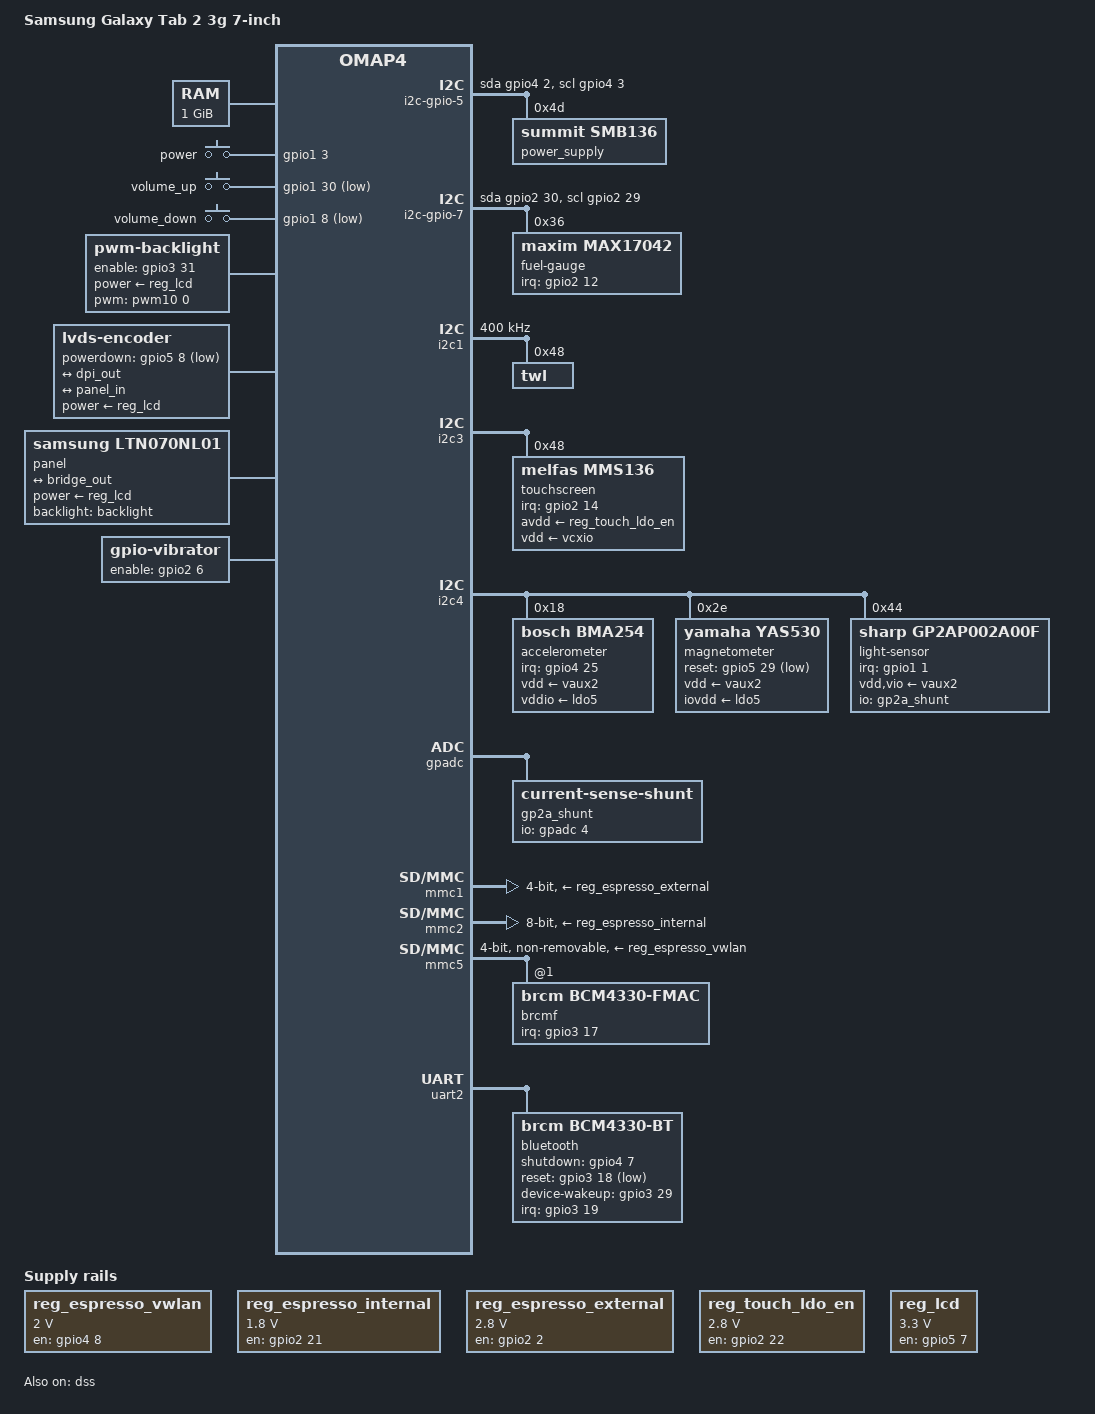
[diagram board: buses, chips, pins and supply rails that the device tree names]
// SPDX-License-Identifier: (GPL-2.0 OR MIT)
/dts-v1/;
#include "dt-bindings/gpio/gpio.h"
#include <dt-bindings/interrupt-controller/irq.h>
#include <dt-bindings/input/input.h>
#include "omap443x.dtsi"

/ {
	model = "Samsung Galaxy Tab 2 3g 7-inch";
	compatible = "samsung,espresso3g", "ti,omap4430", "ti,omap4";

	memory@80000000 {
		device_type = "memory";
		reg = <0x80000000 0x40000000>; /* 1 GB */
	};

	reserved-memory {
		#address-cells = <1>;
		#size-cells = <1>;
		ranges;

		ramoops_region@A0000000 {
			no-map;

			reg = <0xA0000000 0x200000>;

		};

		continuous_splash: framebuffer@bef00000{
			//The framebuffer address is specific to your device
			reg = <0xbef00000 (1024 * 600 * 4)>;
			no-map;
		};
	};

	chosen {
		#address-cells = <1>;
		#size-cells = <1>;
		ranges;
	};

	i2c-gpio-5 {
		compatible = "i2c-gpio";
		sda-gpios = <&gpio4 2 (GPIO_ACTIVE_HIGH | GPIO_OPEN_DRAIN)>;
		scl-gpios = <&gpio4 3 (GPIO_ACTIVE_HIGH | GPIO_OPEN_DRAIN)>;
		i2c-gpio,delay-us = <10>;
		#address-cells = <1>;
		#size-cells = <0>;

		power_supply: charger@4D {
			compatible = "summit,smb136";
			reg = <0x4D>;
		};
	};

	i2c-gpio-7 {
		compatible = "i2c-gpio";
		sda-gpios = <&gpio2 30 (GPIO_ACTIVE_HIGH | GPIO_OPEN_DRAIN)>;
		scl-gpios = <&gpio2 29 (GPIO_ACTIVE_HIGH | GPIO_OPEN_DRAIN)>;
		i2c-gpio,delay-us = <3>;
		#address-cells = <1>;
		#size-cells = <0>;

		fuel-gauge@36 {
			compatible = "maxim,max17042";
			reg = <0x36>;
			pinctrl-0 = <&fuel_alert_irq>;
			pinctrl-names = "default";
			interrupt-parent = <&gpio2>;
			interrupts = <12 IRQ_TYPE_LEVEL_LOW>;
			maxim,rsns-microohm = <10000>;
			maxim,over-heat-temp = <500>;
			maxim,dead-volt = <2500>;
			maxim,over-volt = <4300>;
		};
	};

	reg_espresso_vwlan: regulator-espresso-vwlan {
		pinctrl-names = "default";
		pinctrl-0 = <&wlanen_gpio>;
		compatible = "regulator-fixed";
		regulator-name = "vwl1271";
		regulator-max-microvolt = <2000000>;
		regulator-min-microvolt = <2000000>;
		gpio = <&gpio4 8 GPIO_ACTIVE_HIGH>;
		startup-delay-us = <70000>;
		regulator-always-on;
		enable-active-high;
	};

	reg_espresso_internal: regulator-espresso-internal {
		compatible = "regulator-fixed";
		regulator-name = "eMMC_LDO";
		regulator-max-microvolt = <1800000>;
		regulator-min-microvolt = <1800000>;
		gpios = <&gpio2 21 GPIO_ACTIVE_HIGH>;
		startup-delay-us = <100000>;
		regulator-boot-on;
		regulator-always-on;
		enable-active-high;
	};

	reg_espresso_external: regulator-espresso-external {
		compatible = "regulator-fixed";
		regulator-name = "vmmc2";
		regulator-max-microvolt = <2800000>;
		regulator-min-microvolt = <2800000>;
		gpios = <&gpio2 2 GPIO_ACTIVE_HIGH>;
		regulator-always-on;
		enable-active-high;
	};

	reg_touch_ldo_en: regulator-touch-ldo-en  {
		compatible = "regulator-fixed";
		regulator-name = "touch_ldo_en";
		regulator-max-microvolt = <2800000>;
		regulator-min-microvolt = <2800000>;
		gpios = <&gpio2 22 GPIO_ACTIVE_HIGH>;
		regulator-always-on;
		enable-active-high;
	};

	gpio-keys {
		compatible = "gpio-keys";
		//pinctrl-names = "default";
		//pinctrl-0 = <&gpio_keys>;

		power {
			label = "power";
			gpios = <&gpio1 3 GPIO_ACTIVE_HIGH>;
			linux,code = <KEY_POWER>;
			wakeup-source;
		};

		button-volup {
			linux,code = <KEY_VOLUMEUP>;
			label = "volume_up"; /* GPIO30 */
			gpios = <&gpio1 30 GPIO_ACTIVE_LOW>;
		};

		button-voldown {
			linux,code = <KEY_VOLUMEDOWN>;
			label = "volume_down"; /* GPIO8 */
			gpios = <&gpio1 8 GPIO_ACTIVE_LOW>;
		};
	};

	reg_lcd: regulator-lcd  {
		compatible = "regulator-fixed";
		regulator-name = "lcd_en";
		gpios = <&gpio5 7 GPIO_ACTIVE_HIGH>;
		regulator-max-microvolt = <3300000>;
		regulator-min-microvolt = <3300000>;
		enable-active-high;
		//regulator-always-on;
		regulator-boot-on;
	};

	pwm10: dmtimer-pwm@10 {
		pinctrl-names = "default";
		pinctrl-0 = <&pwm10_default>;

		compatible = "ti,omap-dmtimer-pwm";
		#pwm-cells = <3>;
		ti,timers = <&timer10>;
		ti,clock-source = <0x01>;
	};

	backlight: backlight {
		compatible = "pwm-backlight";
		pinctrl-names = "default";
		pinctrl-0 = <&backlight_pins>;
		pwms = <&pwm10 0 500000 0>;
		power-supply = <&reg_lcd>;
		enable-gpios = <&gpio3 31 GPIO_ACTIVE_HIGH>;
		brightness-levels = <0 4 8 16 32 64 128 255>;
		default-brightness-level = <7>;
	};

	lvds-encoder {
		compatible = "lvds-encoder", "doestek,dtc34lm85am";
		powerdown-gpios = <&gpio5 8 GPIO_ACTIVE_LOW>;
		power-supply = <&reg_lcd>;
		ports {
			#address-cells = <1>;
			#size-cells = <0>;

			port@0 {
				reg = <0>;
				bridge_in: endpoint {
					remote-endpoint = <&dpi_out>;
				};
			};

			port@1 {
				reg = <1>;
				bridge_out: endpoint {
					remote-endpoint = <&panel_in>;
				};
			};
		};
	};

	panel {
		compatible ="samsung,ltn070nl01", "panel-lvds";
		power-supply = <&reg_lcd>;
		width-mm = <154>;
		height-mm = <90>;
		data-mapping = "vesa-24";
		backlight = <&backlight>;

		panel-timing {
			clock-frequency = <28444445>;

			hback-porch = <210>;
			hactive = <1024>;
			hfront-porch = <186>;
			hsync-len = <50>;

			vback-porch = <11>;
			vactive = <600>;
			vfront-porch = <24>;
			vsync-len = <10>;

			hsync-active = <0>;
			vsync-active = <0>;
			de-active = <0>;
			pixelclk-active = <0>;
		};

		port {
			panel_in: endpoint {
				remote-endpoint = <&bridge_out>;
			};
		};
	};

	vibrator {
		compatible = "gpio-vibrator";
		enable-gpios = <&gpio2 6 GPIO_ACTIVE_HIGH>;
		pinctrl-names = "default";
		pinctrl-0 = <&vibrator_default>;
	};
};

&omap4_pmx_wkup {
	twl6030_wkup_pins: pinmux_twl6030_wkup_pins {
		pinctrl-single,pins = <
			OMAP4_IOPAD(0x56, PIN_OUTPUT_PULLUP | MUX_MODE2)	/* fref_clk3_req.sys_drm_msecure */
		>;
	};
};

&omap4_pmx_core {
	pwm10_default: pinmux_pwm10_default {
		pinctrl-single,pins = <
			OMAP4_IOPAD(0X0D6, PIN_OUTPUT | PIN_OFF_OUTPUT_LOW | MUX_MODE1)
		>;
	};

	backlight_pins: pinmux_backlight_pins {
		pinctrl-single,pins = <
			OMAP4_IOPAD(0X0D8, PIN_OUTPUT | PIN_OFF_OUTPUT_LOW | MUX_MODE3)
		>;
	};

	i2c1_pins: pinmux_i2c1_pins {
		pinctrl-single,pins = <
			OMAP4_IOPAD(0x122, PIN_INPUT_PULLUP | MUX_MODE0)	/* i2c1_scl */
			OMAP4_IOPAD(0x124, PIN_INPUT_PULLUP | MUX_MODE0)	/* i2c1_sda */
		>;
	};

	i2c2_pins: pinmux_i2c2_pins {
		pinctrl-single,pins = <
			OMAP4_IOPAD(0x126, PIN_INPUT_PULLUP | MUX_MODE0)	/* i2c2_scl */
			OMAP4_IOPAD(0x128, PIN_INPUT_PULLUP | MUX_MODE0)	/* i2c2_sda */
		>;
	};

	i2c3_pins: pinmux_i2c3_pins {
		pinctrl-single,pins = <
			OMAP4_IOPAD(0x12a, PIN_INPUT_PULLUP | MUX_MODE0)	/* i2c3_scl */
			OMAP4_IOPAD(0x12c, PIN_INPUT_PULLUP | MUX_MODE0)	/* i2c3_sda */
		>;
	};

	i2c4_pins: pinmux_i2c4_pins {
		pinctrl-single,pins = <
			OMAP4_IOPAD(0x12e, PIN_INPUT_PULLUP | MUX_MODE0)	/* i2c4_scl */
			OMAP4_IOPAD(0x130, PIN_INPUT_PULLUP | MUX_MODE0)	/* i2c4_sda */
		>;
	};

	mmc2_pins: pinmux_mmc2_pins {
		pinctrl-single,pins = <
			OMAP4_IOPAD(0x040, PIN_INPUT_PULLUP | MUX_MODE1)	/* sdmmc2_dat0 */
			OMAP4_IOPAD(0x042, PIN_INPUT_PULLUP | MUX_MODE1)	/* sdmmc2_dat1 */
			OMAP4_IOPAD(0x044, PIN_INPUT_PULLUP | MUX_MODE1)	/* sdmmc2_dat2 */
			OMAP4_IOPAD(0x046, PIN_INPUT_PULLUP | MUX_MODE1)	/* sdmmc2_dat3 */
			OMAP4_IOPAD(0x048, PIN_INPUT_PULLUP | MUX_MODE1)	/* sdmmc2_dat4 */
			OMAP4_IOPAD(0x04a, PIN_INPUT_PULLUP | MUX_MODE1)	/* sdmmc2_dat5 */
			OMAP4_IOPAD(0x04c, PIN_INPUT_PULLUP | MUX_MODE1)	/* sdmmc2_dat6 */
			OMAP4_IOPAD(0x04e, PIN_INPUT_PULLUP | MUX_MODE1)	/* sdmmc2_dat7 */
			OMAP4_IOPAD(0x082, PIN_INPUT_PULLUP | MUX_MODE1)	/* sdmmc2_clk */
			OMAP4_IOPAD(0x084, PIN_INPUT_PULLUP | MUX_MODE1)	/* sdmmc2_cmd */
		>;
	};

	mmc1_pins: pinmux_mmc1_pins {
		pinctrl-single,pins = <
			OMAP4_IOPAD(0x0e2, PIN_INPUT_PULLDOWN | MUX_MODE0)	/* sdmmc1_clk */
			OMAP4_IOPAD(0x0e4, PIN_INPUT_PULLUP | MUX_MODE0)	/* sdmcc1_cmd */
			OMAP4_IOPAD(0x0e6, PIN_INPUT_PULLUP | MUX_MODE0)	/* sdmcc1_dat0 */
			OMAP4_IOPAD(0x0e8, PIN_INPUT_PULLUP | MUX_MODE0)	/* sdmmc1_dat1 */
			OMAP4_IOPAD(0x0ea, PIN_INPUT_PULLUP | MUX_MODE0)	/* sdmmc1_dat2 */
			OMAP4_IOPAD(0x0ec, PIN_INPUT_PULLUP | MUX_MODE0)	/* sdmmc1_dat3 */
		>;
	};

	mmc5_pins: pinmux_mmc5_pins {
		pinctrl-single,pins = <
			OMAP4_IOPAD(0x148, PIN_INPUT_PULLUP | MUX_MODE0)	/* sdmmc5_clk.sdmmc5_clk */
			OMAP4_IOPAD(0x14a, PIN_INPUT_PULLUP | MUX_MODE0)	/* sdmmc5_cmd.sdmmc5_cmd */
			OMAP4_IOPAD(0x14c, PIN_INPUT_PULLUP | MUX_MODE0)	/* sdmmc5_dat0.sdmmc5_dat0 */
			OMAP4_IOPAD(0x14e, PIN_INPUT_PULLUP | MUX_MODE0)	/* sdmmc5_dat1.sdmmc5_dat1 */
			OMAP4_IOPAD(0x150, PIN_INPUT_PULLUP | MUX_MODE0)	/* sdmmc5_dat2.sdmmc5_dat2 */
			OMAP4_IOPAD(0x152, PIN_INPUT_PULLUP | MUX_MODE0)	/* sdmmc5_dat3.sdmmc5_dat3 */
		>;
	};

	dss_dpi_pins: pinmux_dss_dpi_pins {
		pinctrl-single,pins = <
			OMAP4_IOPAD(0x162, PIN_OFF_OUTPUT_LOW | MUX_MODE5)	/* dispc2_data23 */
			OMAP4_IOPAD(0x164, PIN_OFF_OUTPUT_LOW | MUX_MODE5)	/* dispc2_data22 */
			OMAP4_IOPAD(0x166, PIN_OFF_OUTPUT_LOW | MUX_MODE5)	/* dispc2_data21 */
			OMAP4_IOPAD(0x168, PIN_OFF_OUTPUT_LOW | MUX_MODE5)	/* dispc2_data20 */
			OMAP4_IOPAD(0x16a, PIN_OFF_OUTPUT_LOW | MUX_MODE5)	/* dispc2_data19 */
			OMAP4_IOPAD(0x16c, PIN_OFF_OUTPUT_LOW | MUX_MODE5)	/* dispc2_data18 */
			OMAP4_IOPAD(0x16e, PIN_OFF_OUTPUT_LOW | MUX_MODE5)	/* dispc2_data15 */
			OMAP4_IOPAD(0x170, PIN_OFF_OUTPUT_LOW | MUX_MODE5)	/* dispc2_data14 */
			OMAP4_IOPAD(0x172, PIN_OFF_OUTPUT_LOW | MUX_MODE5)	/* dispc2_data13 */
			OMAP4_IOPAD(0x174, PIN_OFF_OUTPUT_LOW | MUX_MODE5)	/* dispc2_data12 */
			OMAP4_IOPAD(0x176, PIN_OFF_OUTPUT_LOW | MUX_MODE5)	/* dispc2_data11 */

			OMAP4_IOPAD(0x1b4, PIN_OFF_OUTPUT_LOW | MUX_MODE5)	/* dispc2_data10 */
			OMAP4_IOPAD(0x1b6, PIN_OFF_OUTPUT_LOW | MUX_MODE5)	/* dispc2_data9 */
			OMAP4_IOPAD(0x1b8, PIN_OFF_OUTPUT_LOW | MUX_MODE5)	/* dispc2_data16 */
			OMAP4_IOPAD(0x1ba, PIN_OFF_OUTPUT_LOW | MUX_MODE5)	/* dispc2_data17 */
			OMAP4_IOPAD(0x1bc, PIN_OFF_OUTPUT_LOW | MUX_MODE5)	/* dispc2_hsync */
			OMAP4_IOPAD(0x1be, PIN_OFF_OUTPUT_LOW | MUX_MODE5)	/* dispc2_pclk */
			OMAP4_IOPAD(0x1c0, PIN_OFF_OUTPUT_LOW | MUX_MODE5)	/* dispc2_vsync */
			OMAP4_IOPAD(0x1c2, PIN_OFF_OUTPUT_LOW | MUX_MODE5)	/* dispc2_de */
			OMAP4_IOPAD(0x1c4, PIN_OFF_OUTPUT_LOW | MUX_MODE5)	/* dispc2_data8 */
			OMAP4_IOPAD(0x1c6, PIN_OFF_OUTPUT_LOW | MUX_MODE5)	/* dispc2_data7 */
			OMAP4_IOPAD(0x1c8, PIN_OFF_OUTPUT_LOW | MUX_MODE5)	/* dispc2_data6 */
			OMAP4_IOPAD(0x1ca, PIN_OFF_OUTPUT_LOW | MUX_MODE5)	/* dispc2_data5 */
			OMAP4_IOPAD(0x1cc, PIN_OFF_OUTPUT_LOW | MUX_MODE5)	/* dispc2_data4 */
			OMAP4_IOPAD(0x1ce, PIN_OFF_OUTPUT_LOW | MUX_MODE5)	/* dispc2_data3 */

			OMAP4_IOPAD(0x1d0, PIN_OFF_OUTPUT_LOW | MUX_MODE5)	/* dispc2_data2 */
			OMAP4_IOPAD(0x1d2, PIN_OFF_OUTPUT_LOW | MUX_MODE5)	/* dispc2_data1 */
			OMAP4_IOPAD(0x1d4, PIN_OFF_OUTPUT_LOW | MUX_MODE5)	/* dispc2_data0 */
		>;
	};

	wlanen_gpio: pinmux_wlanen_gpio {
		pinctrl-single,pins = <
			OMAP4_IOPAD(0x096, PIN_OUTPUT | MUX_MODE3)		/* gpmc_ncs7.gpio_104 */
		>;
	};

	twl6030_pins: pinmux_twl6030_pins {
		pinctrl-single,pins = <
			OMAP4_IOPAD(0x19e, WAKEUP_EN | PIN_INPUT_PULLUP | MUX_MODE0)	/* sys_nirq1.sys_nirq1 */
		>;
	};

	fuel_alert_irq: fuel-alert-irq {
		pinctrl-single,pins = <
			OMAP4_IOPAD(0x068, WAKEUP_EN | PIN_INPUT_PULLUP | MUX_MODE3)	/* gpmc_a20.gpio_44 */
		>;
	};

	/*gpio_keys: pinmux_gpio_keys {
		pinctrl-single,pins = <
			OMAP4_IOPAD(0x046, WAKEUP_EN | PIN_INPUT | MUX_MODE3)
			OMAP4_IOPAD(0x056, WAKEUP_EN | PIN_INPUT | MUX_MODE3)
			OMAP4_IOPAD(0x05C, WAKEUP_EN | PIN_INPUT | MUX_MODE3)
		>;
	};*/

	uart2_pins: pinmux_uart2_pins {
		pinctrl-single,pins = <
			OMAP4_IOPAD(0x118, PIN_INPUT_PULLUP | MUX_MODE0)	/* uart2_cts.uart2_cts */
			OMAP4_IOPAD(0x11a, PIN_INPUT_PULLUP | MUX_MODE0)	/* uart2_rts.uart2_rts */
			OMAP4_IOPAD(0x11c, PIN_INPUT_PULLUP | MUX_MODE0)	/* uart2_rx.uart2_rx */
			OMAP4_IOPAD(0x11e, PIN_INPUT_PULLUP | MUX_MODE0)	/* uart2_tx.uart2_tx */
		>;
	};

	bluetooth_pins: pinmux_bluetooth_pins {
		pinctrl-single,pins = <
			OMAP4_IOPAD(0x094, PIN_OUTPUT | MUX_MODE3)
			OMAP4_IOPAD(0x0be, PIN_OUTPUT | MUX_MODE3)
			OMAP4_IOPAD(0x0c0, WAKEUP_EN | PIN_INPUT | MUX_MODE3)
			OMAP4_IOPAD(0x0d4, PIN_OUTPUT | MUX_MODE3)
		>;
	};

	touch_pins: pinmux_touch_pins {
		pinctrl-single,pins = <
			OMAP4_IOPAD(0x06c, PIN_INPUT | MUX_MODE3)
		>;
	};

	vibrator_default: pinmux_vibrator_default {
		pinctrl-single,pins = <
			OMAP4_IOPAD(0x05c, PIN_INPUT_PULLDOWN | MUX_MODE3)
		>;
	};

	gp2a_irq: pinmux_gp2a_irq {
		pinctrl-single,pins = <
			OMAP4_IOPAD(0x042, WAKEUP_EN | PIN_INPUT_PULLUP | MUX_MODE3)
		>;
	};
};

&i2c1 {
	// We need i2c1 muxed early on the boot process for pmic
	// bootloader already done it for us
	// pinctrl-names = "default";
	// pinctrl-0 = <&i2c1_pins>;

	clock-frequency = <400000>;

	twl: twl@48 {
		reg = <0x48>;

		pinctrl-names = "default";
		pinctrl-0 = <
			&twl6030_pins
			&twl6030_wkup_pins
		>;

		/* SPI = 0, IRQ# = 7, 4 = active high level-sensitive */
		interrupts = <GIC_SPI 7 IRQ_TYPE_LEVEL_HIGH>; /* IRQ_SYS_1N cascaded to gic */
		interrupt-parent = <&gic>;
	};
};

#include "twl6032.dtsi"

&i2c2 {
	pinctrl-names = "default";
	pinctrl-0 = <&i2c2_pins>;
};

&i2c3 {
	pinctrl-names = "default";
	pinctrl-0 = <&i2c3_pins>;

	touchscreen@48 {
		compatible = "melfas,mms136";
		reg = <0x48>;
		interrupt-parent = <&gpio2>;
		interrupts = <14 IRQ_TYPE_EDGE_FALLING>;
		touchscreen-size-x = <1023>;
		touchscreen-size-y = <599>;
		pinctrl-names = "default";
		pinctrl-0 = <&touch_pins>;
		avdd-supply = <&reg_touch_ldo_en>;
		vdd-supply = <&vcxio>;
	};
};

&i2c4 {
	pinctrl-names = "default";
	pinctrl-0 = <&i2c4_pins>;

	accelerometer@18 {
		compatible = "bosch,bma254";
		reg = <0x18>;
		vdd-supply = <&vaux2>;
		vddio-supply = <&ldo5>;
		interrupt-parent = <&gpio4>;
		interrupts = <25 (IRQ_TYPE_LEVEL_HIGH | IRQ_TYPE_EDGE_RISING)> , <26 (IRQ_TYPE_LEVEL_HIGH | IRQ_TYPE_EDGE_RISING)>;
		mount-matrix =  "-1",  "0",  "0",
						"0",  "1",  "0",
						"0",  "0", "1";
	};

	magnetometer@2e {
		compatible = "yamaha,yas530";
		reg = <0x2e>;
		vdd-supply = <&vaux2>;
		iovdd-supply = <&ldo5>;
		reset-gpios = <&gpio5 29 GPIO_ACTIVE_LOW>;
		interrupts = <&gpio6 10 IRQ_TYPE_EDGE_RISING>;
    };

	light-sensor@44 {
		compatible = "sharp,gp2ap002a00f";
		reg = <0x44>;
		interrupt-parent = <&gpio1>;
		interrupts = <1 IRQ_TYPE_EDGE_FALLING>;
		vdd-supply = <&vaux2>; //
		vio-supply = <&vaux2>; //
		io-channels = <&gp2a_shunt>;
		io-channel-names = "alsout";
		sharp,proximity-far-hysteresis = /bits/ 8 <0x40>;
		sharp,proximity-close-hysteresis = /bits/ 8 <0x20>;
		pinctrl-names = "default";
		pinctrl-0 = <&gp2a_irq>;
	};
};

&gpadc {
	status = "okay";

	gp2a_shunt: current-sense-shunt {
		compatible = "current-sense-shunt";
		io-channels = <&gpadc 4>;
		shunt-resistor-micro-ohms = <47000000>; /* 47 ohms */
		#io-channel-cells = <0>;
		io-channel-ranges;
	};
};

&dss {
	status = "okay";

	pinctrl-names = "default";
	pinctrl-0 = <&dss_dpi_pins>;

	port {
		dpi_out: endpoint {
			remote-endpoint = <&bridge_in>;
			data-lines = <24>;
		};
	};
};

#include "twl6030.dtsi"

&twl_usb_comparator {
	usb-supply = <&vusb>;
};

&usb_otg_hs {
	interface-type = <1>;
	mode = <1>;
	power = <50>;
};

&mmc1 {
	status = "ok";
	pinctrl-names = "default";
	pinctrl-0 = <&mmc1_pins>;

	vmmc-supply = <&reg_espresso_external>;
	bus-width = <4>;
};


&mmc2 {
	pinctrl-names = "default";
	pinctrl-0 = <&mmc2_pins>;

	vmmc-supply = <&reg_espresso_internal>;
	ti,non-removable;
	bus-width = <8>;
};

&mmc3 {
	status = "disabled";
};

&mmc4 {
	status = "disabled";
};

&mmc5 {
	status = "okay";

	#address-cells = <1>;
	#size-cells = <0>;

	non-removable;
	bus-width = <4>;
	vmmc-supply = <&reg_espresso_vwlan>;

	pinctrl-names = "default";
	pinctrl-0 = <&mmc5_pins>;

	brcmf: wifi@1 {
		compatible = "brcm,bcm4330-fmac";
		reg = <1>;

		interrupt-parent = <&gpio3>;
		interrupts = <17 IRQ_TYPE_LEVEL_HIGH>;
		interrupt-names = "host-wake";
	};
};

&uart2 {
	interrupts-extended = <&wakeupgen GIC_SPI 73 IRQ_TYPE_LEVEL_HIGH
                        &omap4_pmx_core OMAP4_UART2_RX>;
	pinctrl-names = "default";
	pinctrl-0 = <&uart2_pins>;
	bluetooth {
		compatible = "brcm,bcm4330-bt";
		pinctrl-names = "default";
		pinctrl-0 = <&bluetooth_pins>;
		shutdown-gpios = <&gpio4 7 GPIO_ACTIVE_HIGH>;
		reset-gpios = <&gpio3 18 GPIO_ACTIVE_LOW>;
		device-wakeup-gpios = <&gpio3 29 GPIO_ACTIVE_HIGH>;
		interrupt-parent = <&gpio3>;
		interrupts = <19 IRQ_TYPE_EDGE_FALLING>;
	};
};
